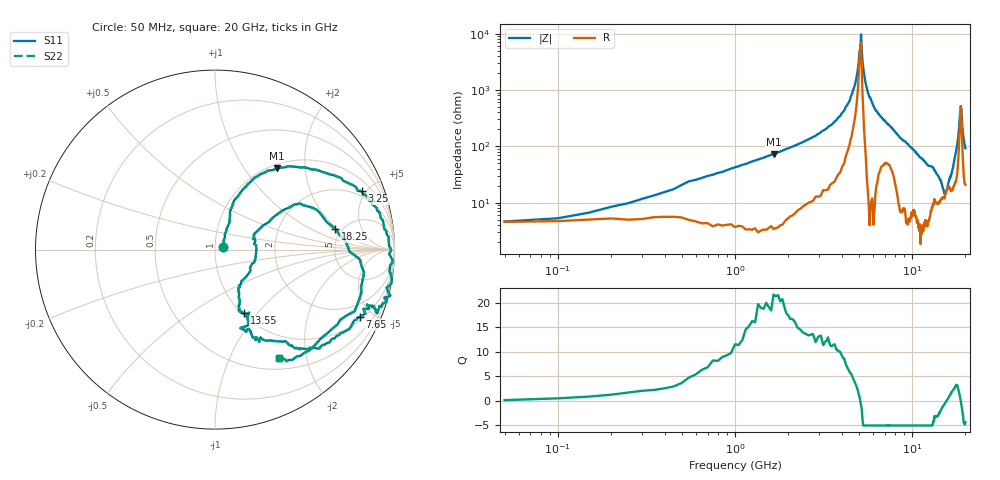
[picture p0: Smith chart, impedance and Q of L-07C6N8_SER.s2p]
#	mhz	s	ma	r	50
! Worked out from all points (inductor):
!   400 points, 50 MHz to 20 GHz, reference 50 ohm
!   read as one part in series: L = 6.47 nH near 500 MHz
!   highest Q = 20.3 at 1.65 GHz (marker M1), where L = 7.04 nH
!   self-resonance near 5.05 GHz
!   S11 on the Smith chart (normalised r, x): 50 MHz: 1.10, +0.04; 3.25 GHz: 1.62, +4.68; 7.65 GHz: 1.17, -4.22; 13.55 GHz: 1.03, -0.86; 18.25 GHz: 4.41, +1.88; 20 GHz: 0.66, -1.55
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50  0.05 18.8  0.96 0.2  0.96 0.2  0.05 18.8
550  0.23 68.6  0.92 -11.9  0.92 -11.9  0.23 68.6
1650  0.57 52.7  0.78 -35.4  0.78 -35.4  0.57 52.7
3250  0.88 21.7  0.44 -63.3  0.44 -63.3  0.88 21.7
3400  0.9 19.1  0.4 -65.9  0.4 -65.9  0.9 19.1
4150  0.96 6.1  0.22 -77.1  0.22 -77.1  0.96 6.1
4700  0.99 -4.2  0.09 -80.5  0.09 -80.5  0.99 -4.2
5100  0.99 -11.7  0.02 -8.3  0.02 -8.3  0.99 -11.7
5150  0.98 -12.5  0.01 33.1  0.01 33.1  0.98 -12.5
5300  0.99 -13.5  0.04 66.1  0.04 66.1  0.99 -13.5
5550  1 -16.8  0.09 71.7  0.09 71.7  1 -16.8
6700  0.94 -19.9  0.28 62.5  0.28 62.5  0.94 -19.9
7650  0.89 -24.9  0.41 54.3  0.41 54.3  0.89 -24.9
10050  0.67 -52.2  0.69 34.9  0.69 34.9  0.67 -52.2
13350  0.4 -61.5  0.85 11.5  0.85 11.5  0.4 -61.5
13550  0.39 -65.2  0.85 9.9  0.85 9.9  0.39 -65.2
16700  0.24 21.5  0.89 -21.0  0.89 -21.0  0.24 21.5
17750  0.54 28.4  0.71 -41.4  0.71 -41.4  0.54 28.4
18250  0.68 9.7  0.47 -55.5  0.47 -55.5  0.68 9.7
18850  0.85 -18.4  0.16 -12.5  0.16 -12.5  0.85 -18.4
19450  0.76 -49.4  0.43 27.5  0.43 27.5  0.76 -49.4
20000  0.7 -59.3  0.6 19.9  0.6 19.9  0.7 -59.3
